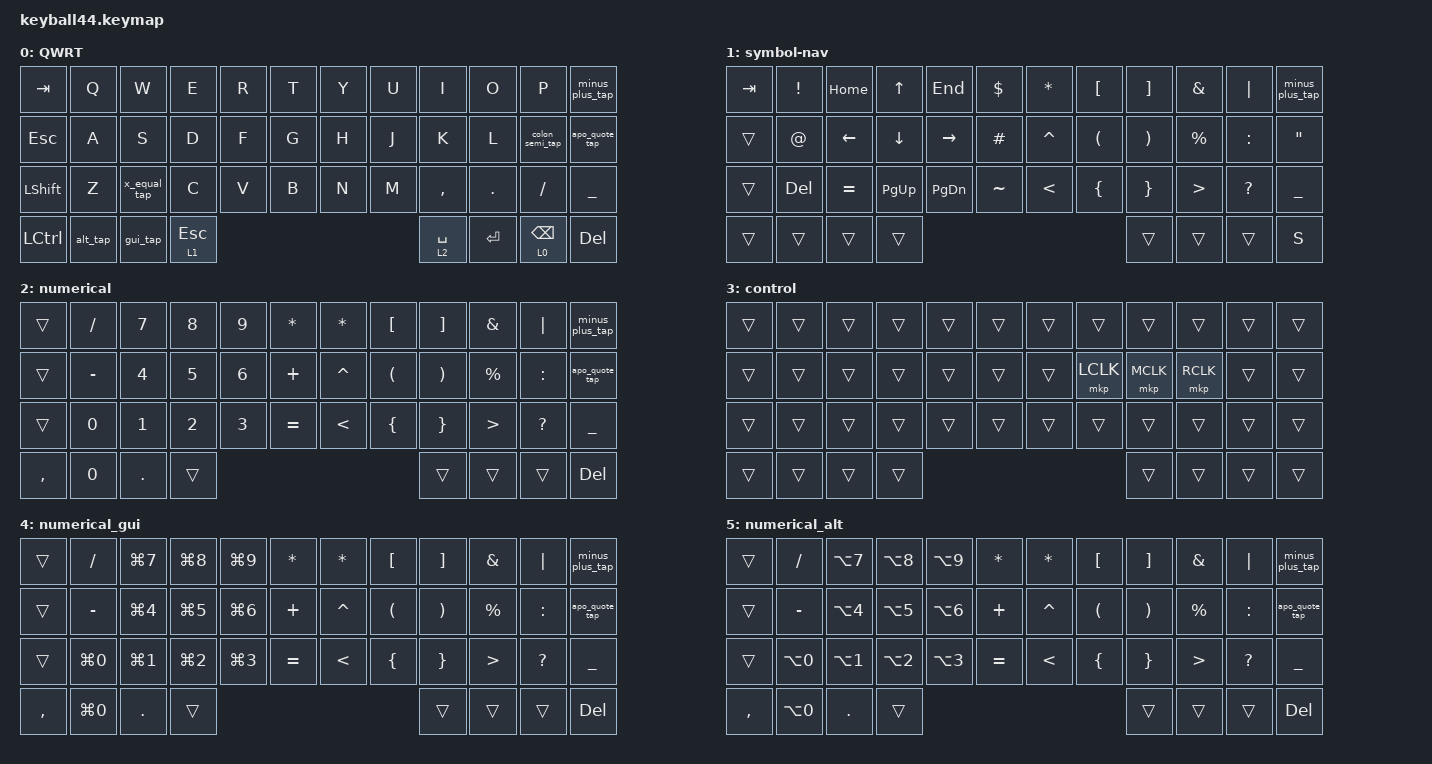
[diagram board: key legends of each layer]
#define DEFAULT 0
#define NUM     1
#define SYM     2
#define FUN     3
#define MOUSE   4
#define SCROLL  5
#define SNIPE   6

#include <behaviors/mouse_keys.dtsi>
#include <dt-bindings/zmk/mouse.h>
#include <behaviors.dtsi>
#include <dt-bindings/zmk/keys.h>
#include <dt-bindings/zmk/pointing.h>

&lt {
    tapping-term-ms = <240>;
    flavor = "balanced";
    quick-tap-ms = <150>;
};

&mt {
    tapping-term-ms = <200>;
    flavor = "tap-preferred";
    quick-tap-ms = <150>;
};

&caps_word { continue-list = <UNDERSCORE MINUS>; };

/ {
    // custom shift using mod-morph 

    behaviors {
        cmqus: comma_question {
            compatible = "zmk,behavior-mod-morph";
            label = "COMMA_QUESTION";
            #binding-cells = <0>;
            bindings = <&kp COMMA>, <&kp QUESTION>;

            mods = <(MOD_LSFT|MOD_RSFT)>;
        };

        dtsmi: dot_semi {
            compatible = "zmk,behavior-mod-morph";
            label = "DOT_SEMI";
            #binding-cells = <0>;
            bindings = <&kp DOT>, <&kp SEMI>;

            mods = <(MOD_LSFT|MOD_RSFT)>;
        };

        apo_quote_tap: apo_quote_tap {
            compatible = "zmk,behavior-tap-dance";
            label = "APO_QUOTE_TAP";
            #binding-cells = <0>;
            bindings = <&kp APOS>, <&kp DOUBLE_QUOTES>;
        };

        colon_semi_tap: colon_semi_tap {
            compatible = "zmk,behavior-tap-dance";
            label = "COLON_SEMI_TAP";
            #binding-cells = <0>;
            bindings = <&lt 3 COLON>, <&kp SEMI>;
        };

        minus_plus_tap: minus_plus_tap {
            compatible = "zmk,behavior-tap-dance";
            label = "MINUS_PLUS_TAP";
            #binding-cells = <0>;
            bindings = <&kp MINUS>, <&kp PLUS>;
        };

        x_equal_tap: x_equal_tap {
            compatible = "zmk,behavior-tap-dance";
            label = "X_EQUAL_TAP";
            #binding-cells = <0>;
            bindings = <&kp X>, <&kp EQUAL>;
        };

        gui_tap: gui_tap {
            compatible = "zmk,behavior-tap-dance";
            label = "GUI_TAP";
            #binding-cells = <0>;
            bindings = <&kp LEFT_GUI>, <&sl 4>;

            tapping-term-ms = <150>;
        };

        alt_tap: alt_tap {
            compatible = "zmk,behavior-tap-dance";
            label = "ALT_TAP";
            #binding-cells = <0>;
            bindings = <&kp LEFT_ALT>, <&sl 5>;

            tapping-term-ms = <150>;
        };
    };

    combos {
        compatible = "zmk,combos";

        escl {
            bindings = <&none>;
            key-positions = <16 15>;
        };

        escr {
            bindings = <&none>;
            key-positions = <19 20>;
        };

        numlay {
            bindings = <&to 2>;
            key-positions = <29 28>;
        };

        what {
            bindings = <&none>;
            key-positions = <8 9 10 11>;
        };
    };

    keymap {
        compatible = "zmk,keymap";

        default_layer {
            label = "QWRT";
            bindings = <
&kp TAB         &kp Q     &kp W         &kp E         &kp R        &kp T                 &kp Y            &kp U  &kp I      &kp O    &kp P            &minus_plus_tap
&kp ESCAPE      &kp A     &kp S         &kp D         &kp F        &kp G                 &kp H            &kp J  &kp K      &kp L    &colon_semi_tap  &apo_quote_tap
&kp LEFT_SHIFT  &kp Z     &x_equal_tap  &kp C         &kp V        &kp B                 &kp N            &kp M  &kp COMMA  &kp DOT  &kp SLASH        &kp UNDER
&kp LCTRL       &alt_tap  &gui_tap      &lt 1 ESCAPE  &lt 2 SPACE             &kp ENTER  &lt 0 BACKSPACE                                              &kp DELETE
            >;
        };

        symbol-nav {
            bindings = <
&kp TAB  &kp EXCL  &kp HOME   &kp UP     &kp END    &kp DOLLAR              &kp ASTERISK   &kp LBKT              &kp RBKT               &kp AMPERSAND     &kp PIPE      &minus_plus_tap
&trans   &kp AT    &kp LEFT   &kp DOWN   &kp RIGHT  &kp HASH                &kp CARET      &kp LEFT_PARENTHESIS  &kp RIGHT_PARENTHESIS  &kp PERCENT       &kp COLON     &kp DOUBLE_QUOTES
&trans   &kp DEL   &kp EQUAL  &kp PG_UP  &kp PG_DN  &kp TILDE               &kp LESS_THAN  &kp LEFT_BRACE        &kp RIGHT_BRACE        &kp GREATER_THAN  &kp QUESTION  &kp UNDER
&trans   &trans    &trans     &trans     &trans                     &trans  &trans                                                                                      &kp S
            >;
        };

        numerical {
            bindings = <
&trans     &kp SLASH  &kp N7   &kp N8  &kp N9  &kp ASTRK              &kp ASTERISK   &kp LEFT_BRACKET      &kp RIGHT_BRACKET      &kp AMPS          &kp PIPE      &minus_plus_tap
&trans     &kp MINUS  &kp N4   &kp N5  &kp N6  &kp PLUS               &kp CARET      &kp LEFT_PARENTHESIS  &kp RIGHT_PARENTHESIS  &kp PERCENT       &kp COLON     &apo_quote_tap
&trans     &kp N0     &kp N1   &kp N2  &kp N3  &kp EQUAL              &kp LESS_THAN  &kp LEFT_BRACE        &kp RIGHT_BRACE        &kp GREATER_THAN  &kp QUESTION  &kp UNDER
&kp COMMA  &kp N0     &kp DOT  &trans  &trans                 &trans  &trans                                                                                      &kp DEL
            >;
        };

        control {
            bindings = <
&trans  &trans  &trans  &trans  &trans  &trans              &trans  &trans     &trans     &trans     &trans  &trans
&trans  &trans  &trans  &trans  &trans  &trans              &trans  &mkp LCLK  &mkp MCLK  &mkp RCLK  &trans  &trans
&trans  &trans  &trans  &trans  &trans  &trans              &trans  &trans     &trans     &trans     &trans  &trans
&trans  &trans  &trans  &trans  &trans              &trans  &trans                                           &trans
            >;
        };

        numerical_gui {
            bindings = <
&trans     &kp SLASH   &kp LG(N7)  &kp LG(N8)  &kp LG(N9)  &kp ASTRK              &kp ASTERISK   &kp LEFT_BRACKET      &kp RIGHT_BRACKET      &kp AMPS          &kp PIPE      &minus_plus_tap
&trans     &kp MINUS   &kp LG(N4)  &kp LG(N5)  &kp LG(N6)  &kp PLUS               &kp CARET      &kp LEFT_PARENTHESIS  &kp RIGHT_PARENTHESIS  &kp PERCENT       &kp COLON     &apo_quote_tap
&trans     &kp LG(N0)  &kp LG(N1)  &kp LG(N2)  &kp LG(N3)  &kp EQUAL              &kp LESS_THAN  &kp LEFT_BRACE        &kp RIGHT_BRACE        &kp GREATER_THAN  &kp QUESTION  &kp UNDER
&kp COMMA  &kp LG(N0)  &kp DOT     &trans      &trans                     &trans  &trans                                                                                      &kp DEL
            >;
        };

        numerical_alt {
            bindings = <
&trans     &kp SLASH   &kp LA(N7)  &kp LA(N8)  &kp LA(N9)  &kp ASTRK              &kp ASTERISK   &kp LEFT_BRACKET      &kp RIGHT_BRACKET      &kp AMPS          &kp PIPE      &minus_plus_tap
&trans     &kp MINUS   &kp LA(N4)  &kp LA(N5)  &kp LA(N6)  &kp PLUS               &kp CARET      &kp LEFT_PARENTHESIS  &kp RIGHT_PARENTHESIS  &kp PERCENT       &kp COLON     &apo_quote_tap
&trans     &kp LA(N0)  &kp LA(N1)  &kp LA(N2)  &kp LA(N3)  &kp EQUAL              &kp LESS_THAN  &kp LEFT_BRACE        &kp RIGHT_BRACE        &kp GREATER_THAN  &kp QUESTION  &kp UNDER
&kp COMMA  &kp LA(N0)  &kp DOT     &trans      &trans                     &trans  &trans                                                                                      &kp DEL
            >;
        };
    };
};
